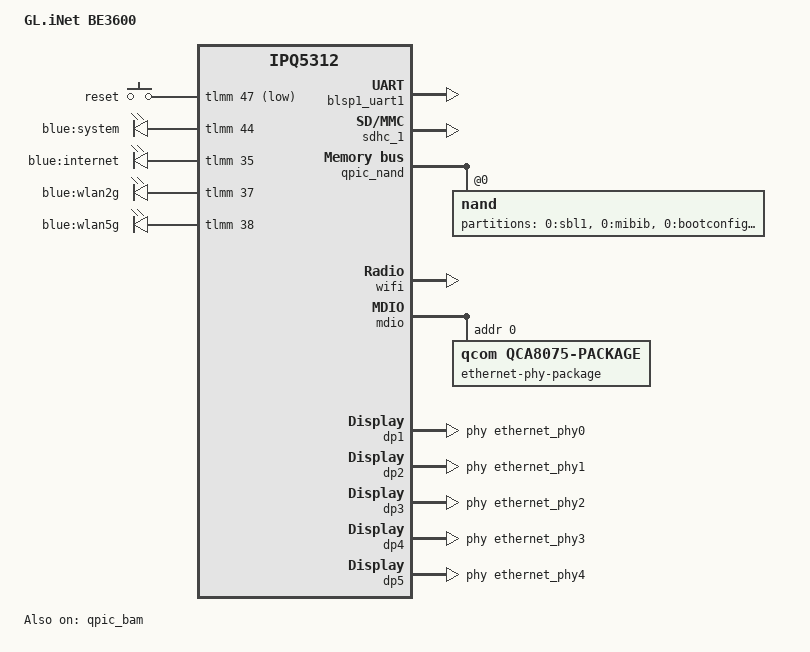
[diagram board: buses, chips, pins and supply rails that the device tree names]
// SPDX-License-Identifier: (GPL-2.0+)

/dts-v1/;

#include "ipq5312.dtsi"
#include <dt-bindings/gpio/gpio.h>
#include <dt-bindings/input/input.h>
#include <dt-bindings/leds/common.h>

/ {
	model = "GL.iNet BE3600";
	compatible = "glinet,be3600", "qcom,ipq5312";

	aliases {
		led-boot = &led_system;
		led-failsafe = &led_system;
		led-running = &led_system;
		led-upgrade = &led_system;
		ethernet0 = &dp1;
		ethernet1 = &dp2;
		ethernet2 = &dp3;
		ethernet3 = &dp4;
		ethernet4 = &dp5;
		serial0 = &blsp1_uart1;
		label-mac-device = &dp1;
	};

	chosen {
		stdout-path = "serial0:115200n8";
		bootargs-append = " root=/dev/ubiblock0_1";
	};

	keys {
		compatible = "gpio-keys";

		reset {
			label = "reset";
			linux,code = <KEY_RESTART>;
			gpios = <&tlmm 47 GPIO_ACTIVE_LOW>;
		};
	};

	leds {
		compatible = "gpio-leds";

		led_system: system {
			label = "blue:system";
			gpios = <&tlmm 44 GPIO_ACTIVE_HIGH>;
			default-state = "on";
		};

		internet {
			label = "blue:internet";
			gpios = <&tlmm 35 GPIO_ACTIVE_HIGH>;
		};
		
		wlan2g {
			label = "blue:wlan2g";
			gpios = <&tlmm 37 GPIO_ACTIVE_HIGH>;
			linux,default-trigger = "phy0tpt";
		};

		wlan5g {
			label = "blue:wlan5g";
			gpios = <&tlmm 38 GPIO_ACTIVE_HIGH>;
			linux,default-trigger = "phy1tpt";
		};
	};
};

&blsp1_uart1 {
	pinctrl-0 = <&serial_1_pins>;
	pinctrl-names = "default";
	status = "okay";
};

&sdhc_1 {
	status = "okay";

	vqmmc-supply = <&l5>;
};

&qpic_bam {
	status = "okay";
};

&qpic_nand {
	status = "okay";

	nand@0 {
		reg = <0>;
		nand-ecc-strength = <4>;
		nand-ecc-step-size = <512>;
		nand-bus-width = <8>;

		partitions {
			compatible = "fixed-partitions";
			#address-cells = <1>;
			#size-cells = <1>;

			partition@0 {
				label = "0:sbl1";
				reg = <0x0 0x100000>;
				read-only;
			};

			partition@100000 {
				label = "0:mibib";
				reg = <0x100000 0x100000>;
				read-only;
			};

			partition@200000 {
				label = "0:bootconfig";
				reg = <0x200000 0x80000>;
				read-only;
			};

			partition@280000 {
				label = "0:bootconfig1";
				reg = <0x280000 0x80000>;
				read-only;
			};

			partition@300000 {
				label = "0:qsee";
				reg = <0x300000 0x300000>;
				read-only;
			};

			partition@600000 {
				label = "0:qsee_1";
				reg = <0x600000 0x300000>;
				read-only;
			};

			partition@900000 {
				label = "0:devcfg";
				reg = <0x900000 0x80000>;
				read-only;
			};

			partition@980000 {
				label = "0:devcfg_1";
				reg = <0x980000 0x80000>;
				read-only;
			};

			partition@a00000 {
				label = "0:apdp";
				reg = <0xa00000 0x80000>;
				read-only;
			};

			partition@a80000 {
				label = "0:apdp_1";
				reg = <0xa80000 0x80000>;
				read-only;
			};

			partition@b00000 {
				label = "0:rpm";
				reg = <0xb00000 0x80000>;
				read-only;
			};

			partition@b80000 {
				label = "0:rpm_1";
				reg = <0xb80000 0x80000>;
				read-only;
			};

			partition@c00000 {
				label = "0:cdt";
				reg = <0xc00000 0x80000>;
				read-only;
			};

			partition@c80000 {
				label = "0:cdt_1";
				reg = <0xc80000 0x80000>;
				read-only;
			};

			partition@d00000 {
				label = "0:appsblenv";
				reg = <0xd00000 0x80000>;
			};

			partition@d80000 {
				label = "0:appsbl";
				reg = <0xd80000 0x100000>;
				read-only;
			};

			partition@e80000 {
				label = "0:appsbl_1";
				reg = <0xe80000 0x100000>;
				read-only;
			};

			partition@f80000 {
				label = "0:art";
				reg = <0xf80000 0x80000>;
				read-only;
			};

			partition@1000000 {
				label = "u-boot-env";
				reg = <0x1000000 0x40000>;
			};

			factory: partition@1040000 {
				label = "factory";
				reg = <0x1040000 0xc0000>;
				read-only;
			};

			partition@1100000 {
				label = "ubi";
				reg = <0x1100000 0x6f00000>;
			};
		};
	};
};

&wifi {
	status = "okay";

	qcom,ath11k-fw-memory-mode = <1>;
	qcom,ath11k-calibration-variant = "GL-iNet_BE3600";
};

&mdio {
	status = "okay";
	
	ethernet-phy-package@0 {
		#address-cells = <1>;
		#size-cells = <0>;
		compatible = "qcom,qca8075-package";
		reg = <0>;

		qcom,package-mode = "psgmii";

		ethernet-phy@0 {
			compatible = "ethernet-phy-ieee802.3-c22";
			reg = <0>;
		};

		ethernet-phy@1 {
			compatible = "ethernet-phy-ieee802.3-c22";
			reg = <1>;
		};

		ethernet-phy@2 {
			compatible = "ethernet-phy-ieee802.3-c22";
			reg = <2>;
		};

		ethernet-phy@3 {
			compatible = "ethernet-phy-ieee802.3-c22";
			reg = <3>;
		};

		ethernet-phy@4 {
			compatible = "ethernet-phy-ieee802.3-c22";
			reg = <4>;
		};
	};
};

&dp1 {
	status = "okay";
	phy-handle = <&ethernet_phy0>;
	label = "wan";
};

&dp2 {
	status = "okay";
	phy-handle = <&ethernet_phy1>;
	label = "lan1";
};

&dp3 {
	status = "okay";
	phy-handle = <&ethernet_phy2>;
	label = "lan2";
};

&dp4 {
	status = "okay";
	phy-handle = <&ethernet_phy3>;
	label = "lan3";
};

&dp5 {
	status = "okay";
	phy-handle = <&ethernet_phy4>;
	label = "lan4";
}; 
